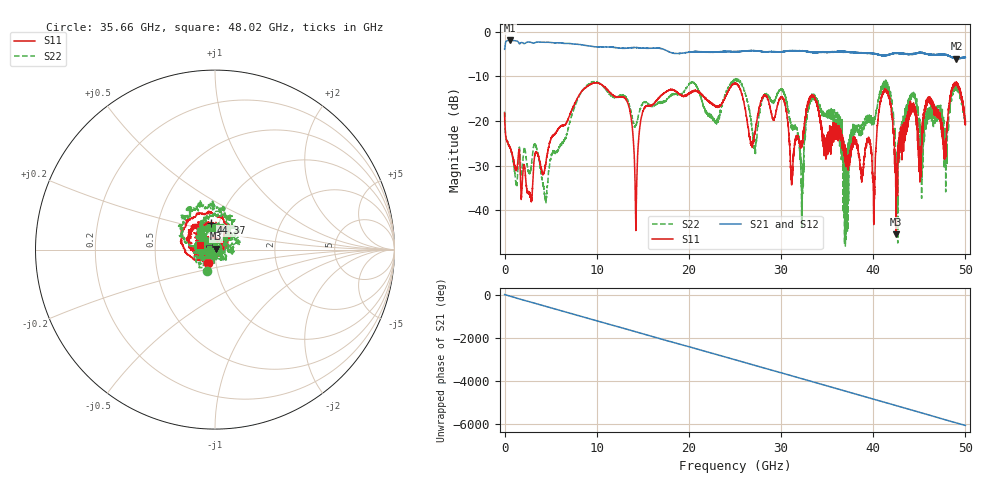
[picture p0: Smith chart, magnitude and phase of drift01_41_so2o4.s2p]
!Created with skrf (http://scikit-rf.org).
# Hz S RI R 50.0
!freq ReS11 ImS11 ReS21 ImS21 ReS12 ImS12 ReS22 ImS22
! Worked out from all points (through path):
!   10001 points, 300 kHz to 50 GHz, reference 50 ohm
!   highest |S21| = -2.00 dB at 575.3 MHz (marker M1); lowest = -6.1 dB at 49.04 GHz (marker M2)
!   group delay of S21, straight-line fit = 336 ps
!   lowest |S11| = -45.4 dB at 42.48 GHz (marker M3), VSWR 1.01, Z = 50.3 + j0.439 ohm
!   |S11| at or under -10 dB: start of sweep to end of sweep
!   |S22| runs from -48.0 to -10.5 dB; largest |S21 - S12| = 0.022
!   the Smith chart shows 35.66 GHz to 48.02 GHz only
!   S11 on the Smith chart (normalised r, x): 35.66 GHz: 0.92, -0.14; 44.37 GHz: 0.92, +0.28; 48.02 GHz: 0.85, +0.05
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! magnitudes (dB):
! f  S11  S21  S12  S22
! 300 kHz  -18.2  -4.0  -4.0  -17.9
! 575.3 MHz  -26.1  -2.0  -2.0  -26.0
! 4.435 GHz  -29.9  -2.4  -2.4  -37.2
! 8.335 GHz  -13.5  -3.0  -3.0  -13.5
! 13.17 GHz  -15.1  -3.8  -3.7  -14.7
! 14.25 GHz  -44.5  -3.6  -3.6  -21.1
! 16.67 GHz  -14.9  -3.7  -3.7  -15.9
! 25 GHz  -11.6  -4.5  -4.6  -11.0
! 27.15 GHz  -22.8  -4.3  -4.3  -26.2
! 30.2 GHz  -15.1  -4.5  -4.5  -13.4
! 31.15 GHz  -34.3  -4.3  -4.4  -21.0
! 32.25 GHz  -25.2  -4.3  -4.4  -39.5
! 33.34 GHz  -14.4  -4.7  -4.6  -14.8
! 35.66 GHz  -21.5  -4.6  -4.6  -18.0
! 37.03 GHz  -26.8  -4.5  -4.6  -31.2
! 40.06 GHz  -42.7  -5.0  -5.0  -20.8
! 41.67 GHz  -14.4  -5.1  -5.2  -12.7
! 42.48 GHz  -45.4  -4.8  -4.9  -32.2
! 44.37 GHz  -16.5  -5.1  -5.0  -13.8
! 48.02 GHz  -21.3  -5.3  -5.3  -26.8
! 49.04 GHz  -11.7  -6.1  -6.0  -12.3
! 50 GHz  -20.1  -5.8  -5.9  -19.8
